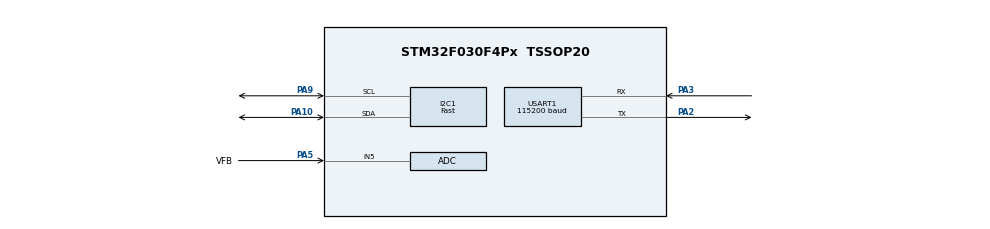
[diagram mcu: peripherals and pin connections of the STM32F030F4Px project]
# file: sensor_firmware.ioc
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Mcu.Family=STM32F0
I2C1.I2C_Speed_Mode=I2C_Fast
PA10.Mode=I2C
USART1.BaudRate=115200
VP_ADC_Vref_Input.Mode=IN-Vrefint
RCC.SYSCLKSource=RCC_SYSCLKSOURCE_PLLCLK
ProjectManager.StackSize=0x400
ADC.EnableAnalogWatchDog=false
USART1.VirtualMode-Asynchronous=VM_ASYNC
PA3.Mode=Asynchronous
PA13.Signal=SYS_SWDIO
PA9.Mode=I2C
NVIC.ADC1_IRQn=true\:0\:0\:false\:false\:true\:true\:true
ProjectManager.TargetToolchain=Makefile
RCC.HCLKFreq_Value=16000000
PA9.Signal=I2C1_SCL
I2C1.Timing=0x0000020B
RCC.AHBFreq_Value=16000000
ADC.SamplingTime=ADC_SAMPLETIME_239CYCLES_5
PA5.Signal=ADC_IN5
board=custom
RCC.PLLMUL=RCC_PLL_MUL4
PA14.Mode=Serial_Wire
ADC.EOCSelection=ADC_EOC_SINGLE_CONV
PA13.Mode=Serial_Wire
Mcu.Name=STM32F030F4Px
PA2.Signal=USART1_TX
RCC.SYSCLKFreq_VALUE=16000000
Mcu.Package=TSSOP20
PA5.GPIO_Label=VFB
PA10.Signal=I2C1_SDA
PA14.Signal=SYS_SWCLK
ProjectManager.HeapSize=0x200
RCC.APB1TimFreq_Value=16000000
PA2.Mode=Asynchronous
RCC.APB1Freq_Value=16000000
PA3.Signal=USART1_RX
PA5.Mode=IN5

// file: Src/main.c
/* USER CODE BEGIN Header */
/**
  ******************************************************************************
  * @file           : main.c
  * @brief          : Main program body
  ******************************************************************************
  * @attention
  *
  * <h2><center>&copy; Copyright (c) 2020 STMicroelectronics.
  * All rights reserved.</center></h2>
  *
  * This software component is licensed by ST under BSD 3-Clause license,
  * the "License"; You may not use this file except in compliance with the
  * License. You may obtain a copy of the License at:
  *                        opensource.org/licenses/BSD-3-Clause
  *
  ******************************************************************************
  */
/* USER CODE END Header */

#include "main.h"
#include "adc.h"
#include "i2c.h"
#include "usart.h"
#include "gpio.h"

/* USER CODE BEGIN Includes */

#include <math.h>
#include <string.h>
#include <stdio.h>
#include "hp203b.h"
#include "crc16_modbus.h"

/* USER CODE END Includes */

/* USER CODE BEGIN PD */

/* ADC internal channels related definitions */
/* Internal voltage reference VrefInt */
#define VREFINT_CAL_ADDR ((uint16_t*) (0x1FFFF7BAU)) /* Internal voltage reference, address of parameter VREFINT_CAL: VrefInt ADC raw data acquired at temperature 30 DegC (tolerance: +-5 DegC), Vref+ = 3.3 V (tolerance: +-10 mV). */
#define VREFINT_CAL_VREF ( 3300U)                    /* Analog voltage reference (Vref+) value with which temperature sensor has been calibrated in production (tolerance: +-10 mV) (unit: mV). */

/* USER CODE END PD */

/* USER CODE BEGIN PV */

uint16_t adc_raw[2];
volatile uint8_t adc_ch_index = 0;
uint16_t vdda;
uint16_t vfb;

typedef struct {
    uint16_t SOF; // 0x5555
    uint8_t version; // 0
    uint8_t type; // Packet type: 0
    uint16_t vfb; // ADC value
    uint32_t airflow;
    uint32_t pressure;
    int32_t temperature;
    uint16_t crc; // TODO
} __attribute__((__packed__)) message_packet_t;

/* USER CODE END PV */

void SystemClock_Config(void);

/* USER CODE BEGIN 0 */

#if 0
void init() {
    ssd1306_TestAll();
}

void loop() {
	HAL_Delay(100);
}
#endif

/* USER CODE END 0 */

int main(void)
{

  /* MCU Configuration--------------------------------------------------------*/

  /* Reset of all peripherals, Initializes the Flash interface and the Systick. */
  HAL_Init();

  /* Configure the system clock */
  SystemClock_Config();

  /* Initialize all configured peripherals */
  MX_GPIO_Init();
  MX_ADC_Init();
  MX_I2C1_Init();
  MX_USART1_UART_Init();
  /* USER CODE BEGIN 2 */

//  HAL_ADCEx_Calibration_Start(&hadc);
  LL_ADC_StartCalibration(ADC1);
  while(LL_ADC_IsCalibrationOnGoing(ADC1)) {}

  LL_ADC_Enable(ADC1);
  while (LL_ADC_IsActiveFlag_ADRDY(ADC1) == 0)

  /* USER CODE END 2 */

  /* Infinite loop */
  /* USER CODE BEGIN WHILE */

  // Start an hp203b reset, then just wait for a while
  hp203b_init();

  while (1)
  {
    // Start a (single? ADC conversion)
//    HAL_ADC_Start_IT(&hadc);

    if(hp203b_start_read_temp_pressure() != HP203B_ERROR_OK) {
      // TODO error handling
    }

    // Sample the first two ADC channels:
    // channel 0: Feedback voltage
    // channel 1: Reference voltage
    LL_ADC_REG_StartConversion(ADC1);

    while (LL_ADC_IsActiveFlag_EOC(ADC1) == 0) {}
    const uint16_t vdda_raw = LL_ADC_REG_ReadConversionData12(ADC1);

    while (LL_ADC_IsActiveFlag_EOC(ADC1) == 0) {}
    const uint16_t vref_raw = LL_ADC_REG_ReadConversionData12(ADC1);

    adc_ch_index = 0;
    //HAL_ADC_Stop(hdl);
    vdda = 3300 * (*VREFINT_CAL_ADDR) / vref_raw;
    vfb = vdda * vdda_raw / 4095 * 2; // TODO: Add calibration for resistor divider

    int32_t temperature = 0;
    uint32_t pressure = 0;

    if(hp203b_read_temp_pressure(&temperature, &pressure) != HP203B_ERROR_OK) {
      // TODO: Errror handling
    }

    // Calculate the wind speed given a linear fit
    // pressure(l/m) = e^(a*vfb_v+b)
    const double p0 = 2.467;
    const double p1 = -6.830;

    const double vfb_v = vfb/1000.0;

    const double af_lm = exp(p0*vfb_v + p1);

    const uint16_t airflow = round(af_lm*100.0);	// Convert to l/minute * 100

    message_packet_t packet = {
        .SOF = 0x5555,
        .version = 0,
        .type = 0,
        .vfb = vfb,
	.airflow = airflow,
        .pressure = pressure,
        .temperature = temperature,
        .crc = 0,
    };
    packet.crc = crc16_modbus((uint8_t *)&packet, sizeof(packet));
    HAL_UART_Transmit(&huart1, (uint8_t *)&packet, sizeof(packet), 0xFFFF);

    /* USER CODE END WHILE */

  }
}

void SystemClock_Config(void)
{
  LL_FLASH_SetLatency(LL_FLASH_LATENCY_0);

  if(LL_FLASH_GetLatency() != LL_FLASH_LATENCY_0)
  {
  Error_Handler();
  }
  LL_RCC_HSI_Enable();

   /* Wait till HSI is ready */
  while(LL_RCC_HSI_IsReady() != 1)
  {

  }
  LL_RCC_HSI_SetCalibTrimming(16);
  LL_RCC_HSI14_Enable();

   /* Wait till HSI14 is ready */
  while(LL_RCC_HSI14_IsReady() != 1)
  {

  }
  LL_RCC_HSI14_SetCalibTrimming(16);
  LL_RCC_PLL_ConfigDomain_SYS(LL_RCC_PLLSOURCE_HSI_DIV_2, LL_RCC_PLL_MUL_4);
  LL_RCC_PLL_Enable();

   /* Wait till PLL is ready */
  while(LL_RCC_PLL_IsReady() != 1)
  {

  }
  LL_RCC_SetAHBPrescaler(LL_RCC_SYSCLK_DIV_1);
  LL_RCC_SetAPB1Prescaler(LL_RCC_APB1_DIV_1);
  LL_RCC_SetSysClkSource(LL_RCC_SYS_CLKSOURCE_PLL);

   /* Wait till System clock is ready */
  while(LL_RCC_GetSysClkSource() != LL_RCC_SYS_CLKSOURCE_STATUS_PLL)
  {

  }
  LL_SetSystemCoreClock(16000000);

   /* Update the time base */
  if (HAL_InitTick (TICK_INT_PRIORITY) != HAL_OK)
  {
    Error_Handler();
  };
  LL_RCC_HSI14_EnableADCControl();
  LL_RCC_SetUSARTClockSource(LL_RCC_USART1_CLKSOURCE_PCLK1);
  LL_RCC_SetI2CClockSource(LL_RCC_I2C1_CLKSOURCE_HSI);
}

/* USER CODE BEGIN 4 */

// CH0 (adc_raw[0]) : ADC_IN5, this is VFB
// CH1 (adc_raw[1]) : Vrefint
/*
void HAL_ADC_ConvCpltCallback(ADC_HandleTypeDef* hdl)
{
  if (__HAL_ADC_GET_FLAG(hdl, ADC_FLAG_EOC))
  {
    adc_raw[adc_ch_index++] = HAL_ADC_GetValue(hdl);
  }

  if (__HAL_ADC_GET_FLAG(hdl, ADC_FLAG_EOS))
  {
    adc_ch_index = 0;
    //HAL_ADC_Stop(hdl);
    vdda = 3300 * (*VREFINT_CAL_ADDR) / adc_raw[1];
    vfb = vdda * adc_raw[0] / 4095 * 2; // TODO: Add calibration for resistor divider
  }
}
*/

/* USER CODE END 4 */

void Error_Handler(void)
{
}

/************************ (C) COPYRIGHT STMicroelectronics *****END OF FILE****/
